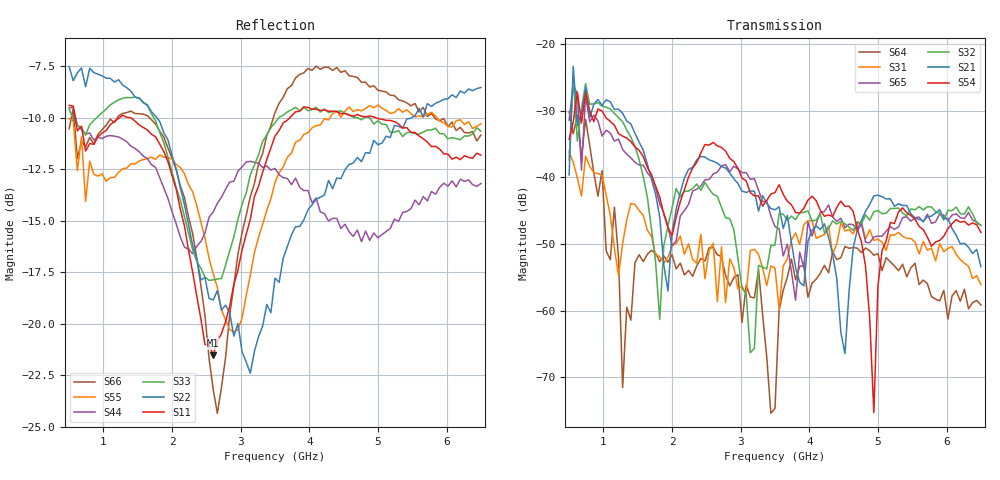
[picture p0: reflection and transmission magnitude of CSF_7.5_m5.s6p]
!Keysight Technologies,M9804A,MY58100912,A.14.10.03
!Date: Thursday, April 27, 2023 10:28:33
!Correction: S11(C  6-Port  )
!S12(C  6-Port  )
!S13(C  6-Port  )
!S14(C  6-Port  )
!S15(C  6-Port  )
!S16(C  6-Port  )
!S21(C  6-Port  )
!S22(C  6-Port  )
!S23(C  6-Port  )
!S24(C  6-Port  )
!S25(C  6-Port  )
!S26(C  6-Port  )
!S31(C  6-Port  )
!S32(C  6-Port  )
!S33(C  6-Port  )
!S34(C  6-Port  )
!S35(C  6-Port  )
!S36(C  6-Port  )
!S41(C  6-Port  )
!S42(C  6-Port  )
!S43(C  6-Port  )
!S44(C  6-Port  )
!S45(C  6-Port  )
!S46(C  6-Port  )
!S51(C  6-Port  )
!S52(C  6-Port  )
!S53(C  6-Port  )
!S54(C  6-Port  )
!S55(C  6-Port  )
!S56(C  6-Port  )
!S61(C  6-Port  )
!S62(C  6-Port  )
!S63(C  6-Port  )
!S64(C  6-Port  )
!S65(C  6-Port  )
!S66(C  6-Port  )
!S6P File: Measurement: :
# Hz S  RI  R 50
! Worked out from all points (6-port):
!   101 points, 500 MHz to 6.5 GHz, reference 50 ohm
!   strongest paths, dB at 500 MHz, 2 GHz, 3.5 GHz, 5 GHz, 6.5 GHz:
!     S54: -34.3, -48.7, -42.3, -56.3, -48.2
!     S21: -39.6, -48.3, -44.9, -42.7, -53.4
!     S32: -37.4, -44.5, -50.2, -45.0, -47.1
!     S65: -31.4, -50.3, -47.4, -48.8, -47.2
!     S31: -36.2, -50.3, -53.6, -49.3, -56.1
!     S64: -30.1, -51.6, -74.7, -51.4, -59.2
!   lowest |S11| = -21.5 dB at 2.6 GHz (marker M1), VSWR 1.18, Z = 42.5 + j2.07 ohm
!   |S11| at or under -10 dB: 588.3 MHz to 1.233 GHz (644.4 MHz wide, 70.8 % of centre); 1.4 GHz to 3.715 GHz (2.314 GHz wide, 90.5 % of centre); 4.971 GHz to end of sweep
